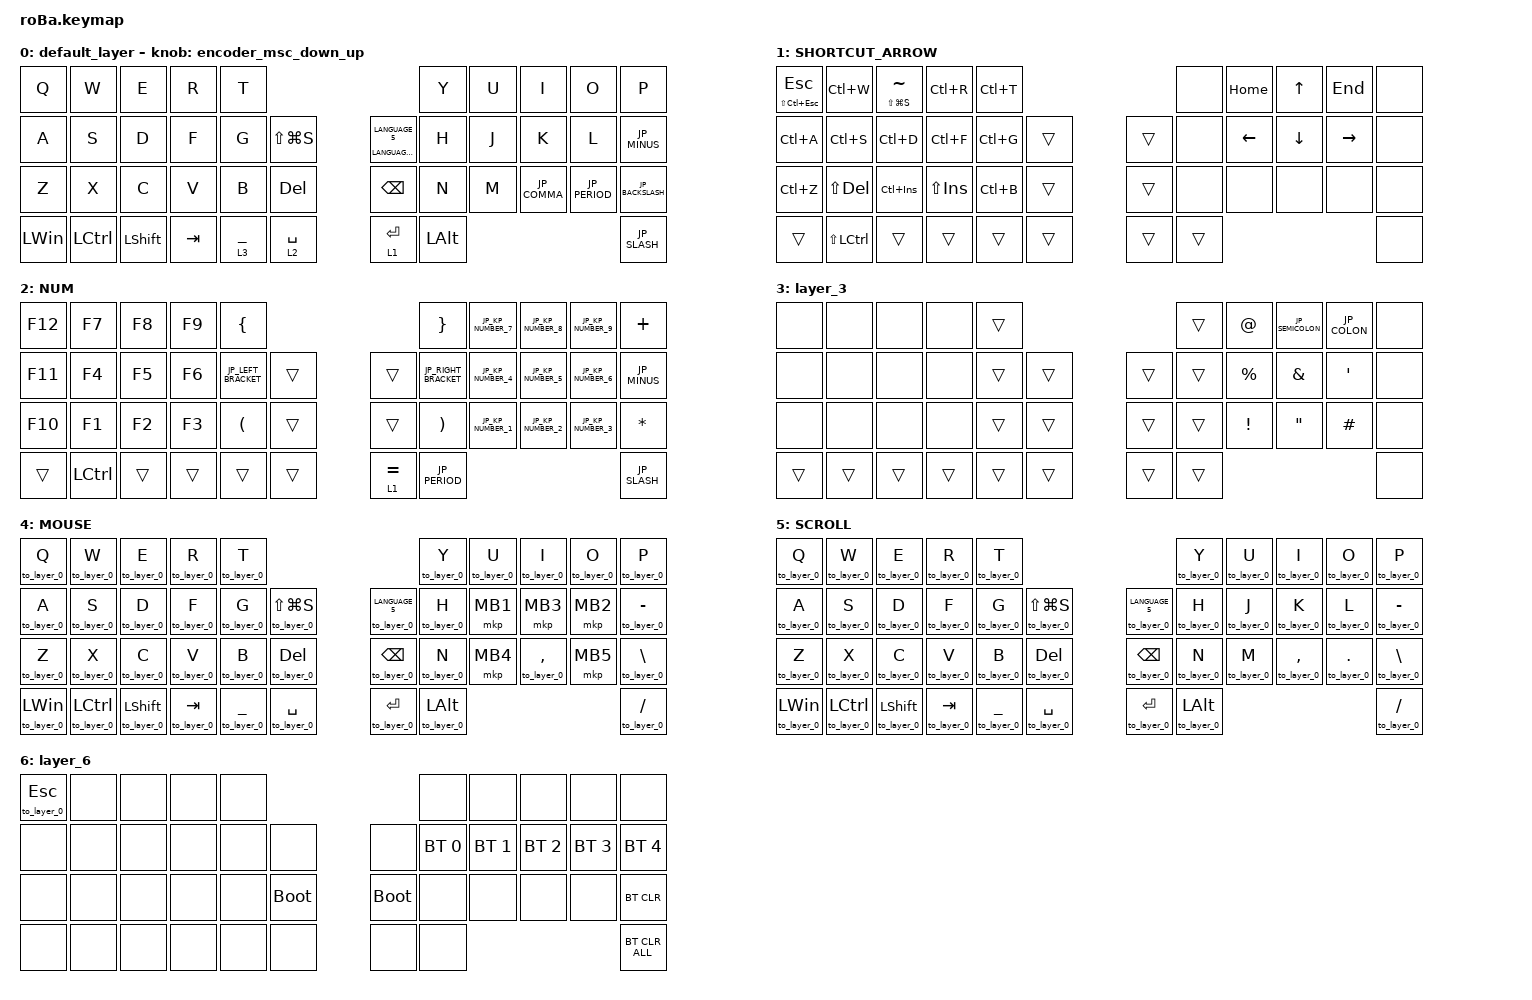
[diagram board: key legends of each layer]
#include <input/processors.dtsi>
#include <behaviors.dtsi>
#include <dt-bindings/zmk/bt.h>
#include <dt-bindings/zmk/keys.h>
#include <dt-bindings/zmk/pointing.h>
#include "jis.dtsi"

&mkp_input_listener { input-processors = <&zip_temp_layer 5 250>; };

&mt {
    flavor = "balanced";
    quick-tap-ms = <0>;
};

&trackball {
    automouse-layer = <4>;
    scroll-layers = <5>;

    // arrows {
    //     layers = <3>;
    //     bindings =
    //         <&kp RIGHT_ARROW>,
    //         <&kp LEFT_ARROW>,
    //         <&kp UP_ARROW>,
    //         <&kp DOWN_ARROW>;
    //     tick = <10>;
    //     wait-ms = <5>;
    //     tap-ms = <5>;
    // };
};

/ {
    combos {
        compatible = "zmk,combos";

        Layer_6 {
            bindings = <&mo 6>;
            key-positions = <0 9 39 40>;
        };

        SCROLL {
            bindings = <&mo 5>;
            key-positions = <0 1>;
        };
    };

    macros {
        to_layer_0: to_layer_0 {
            compatible = "zmk,behavior-macro-one-param";
            #binding-cells = <1>;
            bindings = <&to 0 &macro_param_1to1 &kp MACRO_PLACEHOLDER>;
            label = "TO_LAYER_0";
        };
    };

    behaviors {
        lt_to_layer_0: lt_to_layer_0 {
            compatible = "zmk,behavior-hold-tap";
            label = "LAYER_TAP_TO_0";
            bindings = <&mo>, <&to_layer_0>;

            #binding-cells = <2>;
            tapping-term-ms = <200>;
        };

        encoder_msc_down_up: encoder_msc_down_up {
            compatible = "zmk,behavior-sensor-rotate";
            label = "ENCODER_MSC_DOWN_UP";
            #sensor-binding-cells = <0>;
            bindings = <&msc SCRL_DOWN>, <&msc SCRL_UP>;

            tap-ms = <20>;
        };
    };

    keymap {
        compatible = "zmk,keymap";

        default_layer {
            bindings = <
&kp Q         &kp W      &kp E       &kp R    &kp T                                                                    &kp Y         &kp U  &kp I      &kp O       &kp P
&kp A         &kp S      &kp D       &kp F    &kp G             &kp LS(LG(S))               &mt LANGUAGE_4 LANGUAGE_5  &kp H         &kp J  &kp K      &kp L       &JP_MINUS
&kp Z         &kp X      &kp C       &kp V    &kp B             &kp DELETE                  &kp BACKSPACE              &kp N         &kp M  &JP_COMMA  &JP_PERIOD  &JP_BACKSLASH
&kp LEFT_WIN  &kp LCTRL  &kp LSHIFT  &kp TAB  &lt 3 UNDERSCORE  &lt_to_layer_0 2 SPACE      &lt_to_layer_0 1 ENTER     &kp LEFT_ALT                                &JP_SLASH
            >;

            sensor-bindings = <&encoder_msc_down_up>;
        };

        SHORTCUT_ARROW {
            bindings = <
&mt LS(LC(ESCAPE)) ESC  &kp LC(W)       &mt LS(LG(S)) TILDE  &kp LC(R)       &kp LC(T)                      &none   &kp HOME        &kp UP_ARROW    &kp END          &none
&kp LC(A)               &kp LC(S)       &kp LC(D)            &kp LC(F)       &kp LC(G)  &trans      &trans  &none   &kp LEFT_ARROW  &kp DOWN_ARROW  &kp RIGHT_ARROW  &none
&kp LC(Z)               &kp LS(DELETE)  &kp LC(INSERT)       &kp LS(INSERT)  &kp LC(B)  &trans      &trans  &none   &none           &none           &none            &none
&trans                  &kp LS(LCTRL)   &trans               &trans          &trans     &trans      &trans  &trans                                                   &none
            >;
        };

        NUM {
            bindings = <
&kp F12  &kp F7     &kp F8  &kp F9  &kp LEFT_BRACE                                 &kp RIGHT_BRACE        &JP_KP_NUMBER_7  &JP_KP_NUMBER_8  &JP_KP_NUMBER_9  &kp PLUS
&kp F11  &kp F4     &kp F5  &kp F6  &JP_LEFT_BRACKET      &trans      &trans       &JP_RIGHT_BRACKET      &JP_KP_NUMBER_4  &JP_KP_NUMBER_5  &JP_KP_NUMBER_6  &JP_MINUS
&kp F10  &kp F1     &kp F2  &kp F3  &kp LEFT_PARENTHESIS  &trans      &trans       &kp RIGHT_PARENTHESIS  &JP_KP_NUMBER_1  &JP_KP_NUMBER_2  &JP_KP_NUMBER_3  &kp ASTERISK
&trans   &kp LCTRL  &trans  &trans  &trans                &trans      &lt 1 EQUAL  &JP_PERIOD                                                                 &JP_SLASH
            >;
        };

        layer_3 {
            bindings = <
&none   &none   &none   &none   &trans                      &trans  &kp AT_SIGN      &JP_SEMICOLON      &JP_COLON         &none
&none   &none   &none   &none   &trans  &trans      &trans  &trans  &kp PERCENT      &kp AMPERSAND      &kp SINGLE_QUOTE  &none
&none   &none   &none   &none   &trans  &trans      &trans  &trans  &kp EXCLAMATION  &kp DOUBLE_QUOTES  &kp HASH          &none
&trans  &trans  &trans  &trans  &trans  &trans      &trans  &trans                                                        &none
            >;
        };

        MOUSE {
            bindings = <
&to_layer_0 Q         &to_layer_0 W      &to_layer_0 E           &to_layer_0 R    &to_layer_0 T                                                              &to_layer_0 Y         &to_layer_0 U  &to_layer_0 I      &to_layer_0 O       &to_layer_0 P
&to_layer_0 A         &to_layer_0 S      &to_layer_0 D           &to_layer_0 F    &to_layer_0 G           &to_layer_0 LS(LG(S))      &to_layer_0 LANGUAGE_5  &to_layer_0 H         &mkp MB1       &mkp MB3           &mkp MB2            &to_layer_0 MINUS
&to_layer_0 Z         &to_layer_0 X      &to_layer_0 C           &to_layer_0 V    &to_layer_0 B           &to_layer_0 DELETE         &to_layer_0 BACKSPACE   &to_layer_0 N         &mkp MB4       &to_layer_0 COMMA  &mkp MB5            &to_layer_0 BACKSLASH
&to_layer_0 LEFT_WIN  &to_layer_0 LCTRL  &to_layer_0 LEFT_SHIFT  &to_layer_0 TAB  &to_layer_0 UNDERSCORE  &to_layer_0 SPACE          &to_layer_0 ENTER       &to_layer_0 LEFT_ALT                                                        &to_layer_0 SLASH
            >;
        };

        SCROLL {
            bindings = <
&to_layer_0 Q         &to_layer_0 W      &to_layer_0 E           &to_layer_0 R    &to_layer_0 T                                                              &to_layer_0 Y         &to_layer_0 U  &to_layer_0 I      &to_layer_0 O       &to_layer_0 P
&to_layer_0 A         &to_layer_0 S      &to_layer_0 D           &to_layer_0 F    &to_layer_0 G           &to_layer_0 LS(LG(S))      &to_layer_0 LANGUAGE_5  &to_layer_0 H         &to_layer_0 J  &to_layer_0 K      &to_layer_0 L       &to_layer_0 MINUS
&to_layer_0 Z         &to_layer_0 X      &to_layer_0 C           &to_layer_0 V    &to_layer_0 B           &to_layer_0 DELETE         &to_layer_0 BACKSPACE   &to_layer_0 N         &to_layer_0 M  &to_layer_0 COMMA  &to_layer_0 PERIOD  &to_layer_0 BACKSLASH
&to_layer_0 LEFT_WIN  &to_layer_0 LCTRL  &to_layer_0 LEFT_SHIFT  &to_layer_0 TAB  &to_layer_0 UNDERSCORE  &to_layer_0 SPACE          &to_layer_0 ENTER       &to_layer_0 LEFT_ALT                                                        &to_layer_0 SLASH
            >;
        };

        layer_6 {
            bindings = <
&to_layer_0 ESCAPE  &none  &none  &none  &none                                &none         &none         &none         &none         &none
&none               &none  &none  &none  &none  &none            &none        &bt BT_SEL 0  &bt BT_SEL 1  &bt BT_SEL 2  &bt BT_SEL 3  &bt BT_SEL 4
&none               &none  &none  &none  &none  &bootloader      &bootloader  &none         &none         &none         &none         &bt BT_CLR
&none               &none  &none  &none  &none  &none            &none        &none                                                   &bt BT_CLR_ALL
            >;
        };
    };
};
